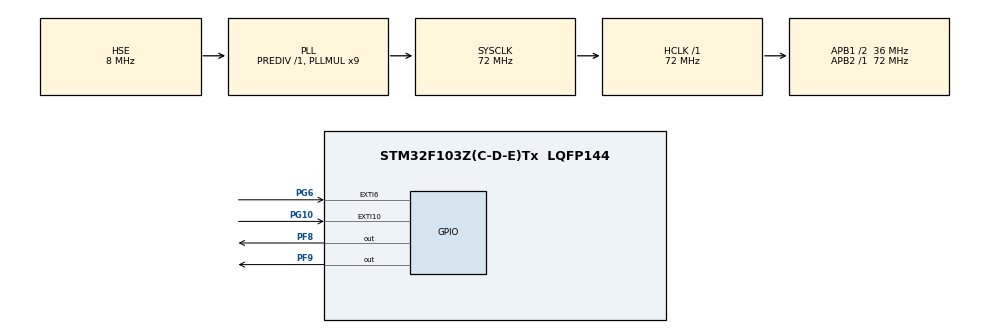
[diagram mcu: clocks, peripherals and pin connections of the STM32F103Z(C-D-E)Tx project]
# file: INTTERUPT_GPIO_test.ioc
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Mcu.Family=STM32F1
Mcu.Name=STM32F103Z(C-D-E)Tx
Mcu.Package=LQFP144
NVIC.EXTI15_10_IRQn=true\:0\:0\:false\:false\:true\:true\:true\:true
NVIC.EXTI9_5_IRQn=true\:0\:0\:false\:false\:true\:true\:true\:true
NVIC.PriorityGroup=NVIC_PRIORITYGROUP_4
OSC_IN.Mode=HSE-External-Oscillator
OSC_IN.Signal=RCC_OSC_IN
OSC_OUT.Mode=HSE-External-Oscillator
OSC_OUT.Signal=RCC_OSC_OUT
PA13.Mode=Serial_Wire
PA13.Signal=SYS_JTMS-SWDIO
PA14.Mode=Serial_Wire
PA14.Signal=SYS_JTCK-SWCLK
PF8.PinState=GPIO_PIN_RESET
PF8.Signal=GPIO_Output
PF9.PinState=GPIO_PIN_SET
PF9.Signal=GPIO_Output
PG10.GPIO_ModeDefaultEXTI=GPIO_MODE_IT_FALLING
PG10.Signal=GPXTI10
PG6.GPIO_ModeDefaultEXTI=GPIO_MODE_IT_FALLING
PG6.Signal=GPXTI6
ProjectManager.HeapSize=0x200
ProjectManager.StackSize=0x400
ProjectManager.TargetToolchain=MDK-ARM V5.32
RCC.AHBFreq_Value=72000000
RCC.APB1CLKDivider=RCC_HCLK_DIV2
RCC.APB1Freq_Value=36000000
RCC.APB1TimFreq_Value=72000000
RCC.APB2Freq_Value=72000000
RCC.APB2TimFreq_Value=72000000
RCC.HCLKFreq_Value=72000000
RCC.PLLMUL=RCC_PLL_MUL9
RCC.PLLSourceVirtual=RCC_PLLSOURCE_HSE
RCC.SYSCLKFreq_VALUE=72000000
RCC.SYSCLKSource=RCC_SYSCLKSOURCE_PLLCLK
RCC.USBFreq_Value=72000000
board=custom

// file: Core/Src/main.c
/* USER CODE BEGIN Header */
/**
  ******************************************************************************
  * @file           : main.c
  * @brief          : Main program body
  ******************************************************************************
  * @attention
  *
  * Copyright (c) 2026 STMicroelectronics.
  * All rights reserved.
  *
  * This software is licensed under terms that can be found in the LICENSE file
  * in the root directory of this software component.
  * If no LICENSE file comes with this software, it is provided AS-IS.
  *
  ******************************************************************************
  */
/* USER CODE END Header */
#include "main.h"

/* USER CODE BEGIN PV */
volatile uint8_t flag_led1 = 0;
volatile uint8_t flag_led2 = 0;
/* USER CODE END PV */

void SystemClock_Config(void);
static void MX_GPIO_Init(void);

int main(void)
{

  /* MCU Configuration--------------------------------------------------------*/

  /* Reset of all peripherals, Initializes the Flash interface and the Systick. */
  HAL_Init();

  /* Configure the system clock */
  SystemClock_Config();

  /* Initialize all configured peripherals */
  MX_GPIO_Init();

  /* Infinite loop */
  /* USER CODE BEGIN WHILE */
  while (1)
  {
    if(flag_led1 == 1)
    {
      HAL_GPIO_WritePin(GPIOF,GPIO_PIN_8,GPIO_PIN_SET);
      HAL_GPIO_WritePin(GPIOF,GPIO_PIN_9,GPIO_PIN_RESET);
      HAL_Delay(5000);

      HAL_GPIO_WritePin(GPIOF,GPIO_PIN_8,GPIO_PIN_RESET);
      HAL_GPIO_WritePin(GPIOF,GPIO_PIN_9,GPIO_PIN_SET);
      flag_led1 = 0;
    }
    if(flag_led2 == 1)
    {
      for(int i = 0;i < 5; i++)
      {
        HAL_GPIO_TogglePin(GPIOF,GPIO_PIN_8);
        HAL_GPIO_TogglePin(GPIOF,GPIO_PIN_9);
        HAL_Delay(1000);
      }
      HAL_GPIO_WritePin(GPIOF,GPIO_PIN_8,GPIO_PIN_RESET);
      HAL_GPIO_WritePin(GPIOF,GPIO_PIN_9,GPIO_PIN_SET);
      flag_led2 = 0;
    }
    /* USER CODE END WHILE */

  }
}

void SystemClock_Config(void)
{
  RCC_OscInitTypeDef RCC_OscInitStruct = {0};
  RCC_ClkInitTypeDef RCC_ClkInitStruct = {0};

  /** Initializes the RCC Oscillators according to the specified parameters
  * in the RCC_OscInitTypeDef structure.
  */
  RCC_OscInitStruct.OscillatorType = RCC_OSCILLATORTYPE_HSE;
  RCC_OscInitStruct.HSEState = RCC_HSE_ON;
  RCC_OscInitStruct.HSEPredivValue = RCC_HSE_PREDIV_DIV1;
  RCC_OscInitStruct.HSIState = RCC_HSI_ON;
  RCC_OscInitStruct.PLL.PLLState = RCC_PLL_ON;
  RCC_OscInitStruct.PLL.PLLSource = RCC_PLLSOURCE_HSE;
  RCC_OscInitStruct.PLL.PLLMUL = RCC_PLL_MUL9;
  if (HAL_RCC_OscConfig(&RCC_OscInitStruct) != HAL_OK)
  {
    Error_Handler();
  }

  /** Initializes the CPU, AHB and APB buses clocks
  */
  RCC_ClkInitStruct.ClockType = RCC_CLOCKTYPE_HCLK|RCC_CLOCKTYPE_SYSCLK
                              |RCC_CLOCKTYPE_PCLK1|RCC_CLOCKTYPE_PCLK2;
  RCC_ClkInitStruct.SYSCLKSource = RCC_SYSCLKSOURCE_PLLCLK;
  RCC_ClkInitStruct.AHBCLKDivider = RCC_SYSCLK_DIV1;
  RCC_ClkInitStruct.APB1CLKDivider = RCC_HCLK_DIV2;
  RCC_ClkInitStruct.APB2CLKDivider = RCC_HCLK_DIV1;

  if (HAL_RCC_ClockConfig(&RCC_ClkInitStruct, FLASH_LATENCY_2) != HAL_OK)
  {
    Error_Handler();
  }
}

static void MX_GPIO_Init(void)
{
  GPIO_InitTypeDef GPIO_InitStruct = {0};

  /* GPIO Ports Clock Enable */
  __HAL_RCC_GPIOF_CLK_ENABLE();
  __HAL_RCC_GPIOG_CLK_ENABLE();
  __HAL_RCC_GPIOA_CLK_ENABLE();

  /*Configure GPIO pin Output Level */
  HAL_GPIO_WritePin(GPIOF, GPIO_PIN_8, GPIO_PIN_RESET);

  /*Configure GPIO pin Output Level */
  HAL_GPIO_WritePin(GPIOF, GPIO_PIN_9, GPIO_PIN_SET);

  /*Configure GPIO pins : PF8 PF9 */
  GPIO_InitStruct.Pin = GPIO_PIN_8|GPIO_PIN_9;
  GPIO_InitStruct.Mode = GPIO_MODE_OUTPUT_PP;
  GPIO_InitStruct.Pull = GPIO_NOPULL;
  GPIO_InitStruct.Speed = GPIO_SPEED_FREQ_LOW;
  HAL_GPIO_Init(GPIOF, &GPIO_InitStruct);

  /*Configure GPIO pins : PG6 PG10 */
  GPIO_InitStruct.Pin = GPIO_PIN_6|GPIO_PIN_10;
  GPIO_InitStruct.Mode = GPIO_MODE_IT_FALLING;
  GPIO_InitStruct.Pull = GPIO_NOPULL;
  HAL_GPIO_Init(GPIOG, &GPIO_InitStruct);

  /* EXTI interrupt init*/
  HAL_NVIC_SetPriority(EXTI9_5_IRQn, 0, 0);
  HAL_NVIC_EnableIRQ(EXTI9_5_IRQn);

  HAL_NVIC_SetPriority(EXTI15_10_IRQn, 0, 0);
  HAL_NVIC_EnableIRQ(EXTI15_10_IRQn);

}

/* USER CODE BEGIN 4 */
void HAL_GPIO_EXTI_Callback(uint16_t GPIO_Pin)
{
  if(GPIO_Pin == GPIO_PIN_10)
  {
    flag_led1 = 1;
  }
  if(GPIO_Pin == GPIO_PIN_6)
  {
    flag_led2 = 1;
  }
}

/* USER CODE END 4 */

void Error_Handler(void)
{
  __disable_irq();
  while (1)
  {
  }
}
